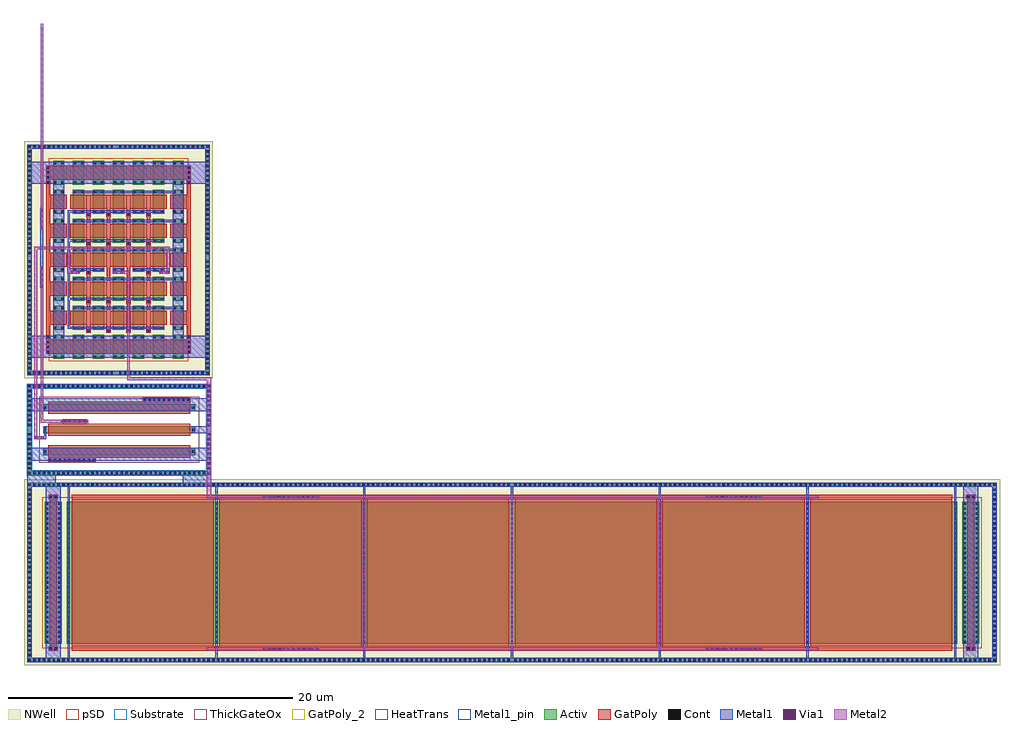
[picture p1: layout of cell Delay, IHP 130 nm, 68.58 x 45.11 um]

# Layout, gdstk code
from math import pi, radians
import gdstk
lib = gdstk.Library(unit=1e-6, precision=5e-09)
def R(c, l, rs):  # rectangles x0, y0, x1, y1
    for r in rs: c.add(gdstk.rectangle(r[:2], r[2:], *l))
def A(c, l, x, y, w, h, nx, ny, dx, dy):  # array of equal rectangles
    R(c, l, [(x+i*dx, y+j*dy, x+i*dx+w, y+j*dy+h) for i in range(nx) for j in range(ny)])
def P(c, l, *ps):  # polygons
    for p in ps: c.add(gdstk.Polygon(p, *l))
Activ = (1, 0)
GatPoly = (5, 0)
GatPoly_2 = (5, 2)
Cont = (6, 0)
Metal1 = (8, 0)
Metal1_pin = (8, 2)
Metal2 = (10, 0)
pSD = (14, 0)
Via1 = (19, 0)
NWell = (31, 0)
Substrate = (40, 0)
ThickGateOx = (44, 0)
HeatTrans = (51, 0)

pmos = lib.new_cell('pmos')
A(pmos, Activ, 0, 0, 0.3, 0.3, 7, 1, 10.38, 0)
R(pmos, Activ, [(0,0,62.58,10)])
A(pmos, GatPoly, 0.34, -0.18, 10, 10.36, 6, 1, 10.38, 0)
R(pmos, GatPoly, [(0.34,-0.18,10.34,10.18)])
A(pmos, Cont, 0.07, 0.07, 0.16, 0.16, 7, 4, 10.38, 0.345)
A(pmos, Cont, 0.07, 1.455, 0.16, 0.16, 7, 3, 10.38, 0.345)
A(pmos, Cont, 0.07, 2.495, 0.16, 0.16, 7, 4, 10.38, 0.345)
A(pmos, Cont, 0.07, 3.88, 0.16, 0.16, 7, 3, 10.38, 0.345)
A(pmos, Cont, 0.07, 4.92, 0.16, 0.16, 7, 4, 10.38, 0.345)
A(pmos, Cont, 0.07, 6.305, 0.16, 0.16, 7, 3, 10.38, 0.345)
A(pmos, Cont, 0.07, 7.345, 0.16, 0.16, 7, 4, 10.38, 0.345)
A(pmos, Cont, 0.07, 8.73, 0.16, 0.16, 7, 3, 10.38, 0.345)
A(pmos, Cont, 0.07, 9.77, 0.16, 0.16, 7, 1, 10.38, 0)
A(pmos, Metal1, 10.45, 0, 0.16, 10, 6, 1, 10.38, 0)
R(pmos, Metal1, [(0.07,0,0.23,10), (0.07,0,0.23,10), (10.45,0,10.61,10)])
R(pmos, pSD, [(-0.18,-0.3,62.76,10.3)])
R(pmos, NWell, [(-0.31,-0.31,62.89,10.31)])
A(pmos, HeatTrans, 0.34, -0.18, 10, 10.36, 6, 1, 10.38, 0)
pmos.add(gdstk.Label('pmos', (5.34,5), layer=63, texttype=0))
pmos.add(gdstk.Label('pmos', (5.34,5), layer=51, texttype=0))
pmos.add(gdstk.Label('pmos', (15.72,5), layer=51, texttype=0))
pmos.add(gdstk.Label('pmos', (26.1,5), layer=51, texttype=0))
pmos.add(gdstk.Label('pmos', (36.48,5), layer=51, texttype=0))
pmos.add(gdstk.Label('pmos', (46.86,5), layer=51, texttype=0))
pmos.add(gdstk.Label('pmos', (57.24,5), layer=51, texttype=0))

pmos_1 = lib.new_cell('pmos$1')
R(pmos_1, Activ, [(0,0,0.3,0.3), (0,0,1.18,10), (0.88,0,1.18,0.3)])
R(pmos_1, GatPoly, [(0.34,-0.18,0.84,10.18), (0.34,-0.18,0.84,10.18)])
A(pmos_1, Cont, 0.07, 0.07, 0.16, 0.16, 1, 4, 0, 0.345)
A(pmos_1, Cont, 0.95, 0.07, 0.16, 0.16, 1, 4, 0, 0.345)
A(pmos_1, Cont, 0.07, 1.455, 0.16, 0.16, 1, 3, 0, 0.345)
A(pmos_1, Cont, 0.95, 1.455, 0.16, 0.16, 1, 3, 0, 0.345)
A(pmos_1, Cont, 0.07, 2.495, 0.16, 0.16, 1, 4, 0, 0.345)
A(pmos_1, Cont, 0.95, 2.495, 0.16, 0.16, 1, 4, 0, 0.345)
A(pmos_1, Cont, 0.07, 3.88, 0.16, 0.16, 1, 3, 0, 0.345)
A(pmos_1, Cont, 0.95, 3.88, 0.16, 0.16, 1, 3, 0, 0.345)
A(pmos_1, Cont, 0.07, 4.92, 0.16, 0.16, 1, 4, 0, 0.345)
A(pmos_1, Cont, 0.95, 4.92, 0.16, 0.16, 1, 4, 0, 0.345)
A(pmos_1, Cont, 0.07, 6.305, 0.16, 0.16, 1, 3, 0, 0.345)
A(pmos_1, Cont, 0.95, 6.305, 0.16, 0.16, 1, 3, 0, 0.345)
A(pmos_1, Cont, 0.07, 7.345, 0.16, 0.16, 1, 4, 0, 0.345)
A(pmos_1, Cont, 0.95, 7.345, 0.16, 0.16, 1, 4, 0, 0.345)
A(pmos_1, Cont, 0.07, 8.73, 0.16, 0.16, 1, 3, 0, 0.345)
A(pmos_1, Cont, 0.95, 8.73, 0.16, 0.16, 1, 3, 0, 0.345)
R(pmos_1, Cont, [(0.07,9.77,0.23,9.93), (0.95,9.77,1.11,9.93)])
R(pmos_1, Metal1, [(0.07,0,0.23,10), (0.07,0,0.23,10), (0.95,0,1.11,10), (0.95,0,1.11,10)])
R(pmos_1, pSD, [(-0.18,-0.3,1.36,10.3)])
R(pmos_1, NWell, [(-0.31,-0.31,1.49,10.31)])
R(pmos_1, HeatTrans, [(0.34,-0.18,0.84,10.18)])
pmos_1.add(gdstk.Label('pmos', (0.59,5), layer=63, texttype=0))
pmos_1.add(gdstk.Label('pmos', (0.59,5), layer=51, texttype=0))

via_stack = lib.new_cell('via_stack')
R(via_stack, GatPoly, [(-1.68,-0.15,1.68,0.15)])
A(via_stack, Cont, -1.61, -0.08, 0.16, 0.16, 10, 1, 0.34, 0)
R(via_stack, Metal1, [(-1.99,-0.105,1.99,0.105)])
R(via_stack, Metal2, [(-1.99,-0.1,1.99,0.1)])
A(via_stack, Via1, -1.94, -0.095, 0.19, 0.19, 10, 1, 0.41, 0)

via_stack_1 = lib.new_cell('via_stack$1')
R(via_stack_1, GatPoly, [(-0.32,-0.15,0.32,0.15)])
R(via_stack_1, Cont, [(-0.25,-0.08,-0.09,0.08), (0.09,-0.08,0.25,0.08)])
R(via_stack_1, Metal1, [(-0.3,-0.08,0.3,0.08)])

pmos_2 = lib.new_cell('pmos$2')
R(pmos_2, Activ, [(0,0,0.3,0.3), (0,0,1.68,0.8), (1.38,0,1.68,0.3)])
R(pmos_2, GatPoly, [(0.34,-0.18,1.34,0.98), (0.34,-0.18,1.34,0.98)])
R(pmos_2, Cont, [(0.07,0.07,0.23,0.23), (1.45,0.07,1.61,0.23), (0.07,0.57,0.23,0.73), (1.45,0.57,1.61,0.73)])
R(pmos_2, Metal1, [(0.07,0,0.23,0.8), (0.07,0,0.23,0.8), (1.45,0,1.61,0.8), (1.45,0,1.61,0.8)])
R(pmos_2, pSD, [(-0.18,-0.3,1.86,1.1)])
R(pmos_2, NWell, [(-0.31,-0.31,1.99,1.11)])
R(pmos_2, HeatTrans, [(0.34,-0.18,1.34,0.98)])
pmos_2.add(gdstk.Label('pmos', (0.84,0.4), layer=63, texttype=0))
pmos_2.add(gdstk.Label('pmos', (0.84,0.4), layer=51, texttype=0))

via_stack_2 = lib.new_cell('via_stack$2')
R(via_stack_2, Metal1, [(-0.35,-0.105,0.35,0.105)])
R(via_stack_2, Metal2, [(-0.35,-0.1,0.35,0.1)])
R(via_stack_2, Via1, [(-0.3,-0.095,-0.11,0.095), (0.11,-0.095,0.3,0.095)])

via_stack_3 = lib.new_cell('via_stack$3')
R(via_stack_3, GatPoly, [(-0.15,-0.15,0.15,0.15)])
R(via_stack_3, Cont, [(-0.08,-0.08,0.08,0.08)])
R(via_stack_3, Metal1, [(-0.13,-0.08,0.13,0.08)])

nmoshv = lib.new_cell('nmosHV')
R(nmoshv, Activ, [(0,0,0.3,0.3), (0,0,10.68,0.5), (10.38,0,10.68,0.3)])
R(nmoshv, GatPoly, [(0.34,-0.18,10.34,0.68)])
R(nmoshv, GatPoly_2, [(0.34,-0.18,10.34,0.68)])
R(nmoshv, Cont, [(0.07,0.17,0.23,0.33), (10.45,0.17,10.61,0.33)])
R(nmoshv, Metal1, [(0.07,0,0.23,0.5), (10.45,0,10.61,0.5)])
R(nmoshv, Metal1_pin, [(0.07,0,0.23,0.5), (10.45,0,10.61,0.5)])
R(nmoshv, ThickGateOx, [(-0.27,-0.52,10.95,1.02)])
R(nmoshv, HeatTrans, [(0.34,-0.18,10.34,0.68)])
nmoshv.add(gdstk.Label('nmosHV', (5.34,0.25), layer=63, texttype=0))
nmoshv.add(gdstk.Label('nmosHV', (5.34,0.25), layer=51, texttype=0))

guard_ring = lib.new_cell('guard_ring')
R(guard_ring, Activ, [(-3.2,-6.15,-2.9,6.15), (2.9,-6.15,3.2,6.15), (-3.2,6.15,3.2,6.45)])
P(guard_ring, Activ, [(-3.2,-6.45),(-3.2,6.15),(-2.9,6.15),(-2.9,-6.15),(2.9,-6.15),(2.9,6.15),(-3.2,6.15),(-3.2,6.45),(3.2,6.45),(3.2,-6.45)])
A(guard_ring, Cont, -3.13, -6.38, 0.16, 0.16, 9, 2, 0.34, 12.6)
A(guard_ring, Cont, 0.25, -6.38, 0.16, 0.16, 9, 2, 0.34, 12.6)
A(guard_ring, Cont, -3.13, -6.04, 0.16, 0.16, 1, 18, 0, 0.34)
A(guard_ring, Cont, 2.97, -6.04, 0.16, 0.16, 1, 18, 0, 0.34)
A(guard_ring, Cont, -3.13, 0.1, 0.16, 0.16, 1, 18, 0, 0.34)
A(guard_ring, Cont, 2.97, 0.1, 0.16, 0.16, 1, 18, 0, 0.34)
R(guard_ring, Metal1, [(-3.2,-6.45,3.2,-6.15), (-3.2,-6.15,-2.9,6.15), (2.9,-6.15,3.2,6.15), (-3.2,6.15,3.2,6.45)])
R(guard_ring, pSD, [(-3.23,-6.12,-2.87,6.12), (2.87,-6.12,3.23,6.12), (-3.23,6.12,3.23,6.48)])
P(guard_ring, pSD, [(-3.23,-6.48),(-3.23,6.12),(-2.87,6.12),(-2.87,-6.12),(2.87,-6.12),(2.87,6.12),(-3.23,6.12),(-3.23,6.48),(3.23,6.48),(3.23,-6.48)])
R(guard_ring, Substrate, [(-3.23,-6.12,-2.87,6.12), (2.87,-6.12,3.23,6.12), (-3.23,6.12,3.23,6.48)])
P(guard_ring, Substrate, [(-3.23,-6.48),(-3.23,6.12),(-2.87,6.12),(-2.87,-6.12),(2.87,-6.12),(2.87,6.12),(-3.23,6.12),(-3.23,6.48),(3.23,6.48),(3.23,-6.48)])
guard_ring.add(gdstk.Label('sub!', (0,-6.3), layer=63, texttype=0))

via_stack_4 = lib.new_cell('via_stack$4')
R(via_stack_4, GatPoly, [(-1.68,-0.15,1.68,0.15)])
A(via_stack_4, Cont, -1.61, -0.08, 0.16, 0.16, 10, 1, 0.34, 0)
R(via_stack_4, Metal1, [(-1.66,-0.08,1.66,0.08)])

via_stack_5 = lib.new_cell('via_stack$5')
R(via_stack_5, GatPoly, [(-0.15,-0.66,0.15,0.66)])
A(via_stack_5, Cont, -0.08, -0.59, 0.16, 0.16, 1, 4, 0, 0.34)
R(via_stack_5, Metal1, [(-0.08,-0.64,0.08,0.64)])

guard_ring_3 = lib.new_cell('guard_ring$3')
R(guard_ring_3, Activ, [(-34.05,-6,-33.75,6), (33.75,-6,34.05,6), (-34.05,6,34.05,6.3)])
P(guard_ring_3, Activ, [(-34.05,-6.3),(-34.05,6),(-33.75,6),(-33.75,-6),(33.75,-6),(33.75,6),(-34.05,6),(-34.05,6.3),(34.05,6.3),(34.05,-6.3)])
A(guard_ring_3, Cont, -33.98, -6.23, 0.16, 0.16, 100, 2, 0.34, 12.3)
A(guard_ring_3, Cont, 0.16, -6.23, 0.16, 0.16, 100, 2, 0.34, 12.3)
A(guard_ring_3, Cont, -33.98, -5.89, 0.16, 0.16, 1, 17, 0, 0.34)
A(guard_ring_3, Cont, 33.82, -5.89, 0.16, 0.16, 1, 17, 0, 0.34)
A(guard_ring_3, Cont, -33.98, -0.05, 0.16, 0.16, 1, 18, 0, 0.34)
A(guard_ring_3, Cont, 33.82, -0.05, 0.16, 0.16, 1, 18, 0, 0.34)
R(guard_ring_3, Metal1, [(-34.05,-6.3,34.05,-6), (-34.05,-6,-33.75,6), (33.75,-6,34.05,6), (-34.05,6,34.05,6.3)])
R(guard_ring_3, NWell, [(-34.29,-6.54,34.29,6.54)])
guard_ring_3.add(gdstk.Label('well', (0,-6.15), layer=63, texttype=0))

guard_ring_6 = lib.new_cell('guard_ring$6')
R(guard_ring_6, Activ, [(-8.1,-6.1,-7.8,6.1), (7.8,-6.1,8.1,6.1), (-8.1,6.1,8.1,6.4)])
P(guard_ring_6, Activ, [(-8.1,-6.4),(-8.1,6.1),(-7.8,6.1),(-7.8,-6.1),(7.8,-6.1),(7.8,6.1),(-8.1,6.1),(-8.1,6.4),(8.1,6.4),(8.1,-6.4)])
A(guard_ring_6, Cont, -8.03, -6.33, 0.16, 0.16, 23, 2, 0.34, 12.5)
A(guard_ring_6, Cont, 0.05, -6.33, 0.16, 0.16, 24, 2, 0.34, 12.5)
A(guard_ring_6, Cont, -8.03, -5.99, 0.16, 0.16, 1, 17, 0, 0.34)
A(guard_ring_6, Cont, 7.87, -5.99, 0.16, 0.16, 1, 17, 0, 0.34)
A(guard_ring_6, Cont, -8.03, 0.05, 0.16, 0.16, 1, 18, 0, 0.34)
A(guard_ring_6, Cont, 7.87, 0.05, 0.16, 0.16, 1, 18, 0, 0.34)
R(guard_ring_6, Metal1, [(-8.1,-6.4,8.1,-6.1), (-8.1,-6.1,-7.8,6.1), (7.8,-6.1,8.1,6.1), (-8.1,6.1,8.1,6.4)])
R(guard_ring_6, NWell, [(-8.34,-6.64,8.34,6.64)])
guard_ring_6.add(gdstk.Label('well', (0,-6.25), layer=63, texttype=0))

via_stack_31 = lib.new_cell('via_stack$31')
R(via_stack_31, GatPoly, [(-0.83,-0.15,0.83,0.15)])
A(via_stack_31, Cont, -0.76, -0.08, 0.16, 0.16, 5, 1, 0.34, 0)
R(via_stack_31, Metal1, [(-0.965,-0.105,0.965,0.105)])
R(via_stack_31, Metal2, [(-0.965,-0.1,0.965,0.1)])
A(via_stack_31, Via1, -0.915, -0.095, 0.19, 0.19, 5, 1, 0.41, 0)

via_stack_27 = lib.new_cell('via_stack$27')
R(via_stack_27, Metal1, [(-0.105,-0.76,0.105,0.76)])
R(via_stack_27, Metal2, [(-0.1,-0.76,0.1,0.76)])
A(via_stack_27, Via1, -0.095, -0.71, 0.19, 0.19, 1, 4, 0, 0.41)

delay = lib.new_cell('Delay')
A(delay, GatPoly, 4.39, 23.375, 0.3, 0.55, 4, 1, 1.4, 0)
A(delay, GatPoly, 4.42, 23.925, 0.24, 9.16, 4, 1, 1.4, 0)
A(delay, GatPoly, 4.39, 25.415, 0.3, 0.55, 1, 4, 0, 2.04)
R(delay, GatPoly, [(1.8,1.035,2.3,1.335), (3.34,1.035,65.24,1.335), (66.28,1.035,66.78,1.335), (1.8,11.695,2.3,11.995), (3.34,11.695,65.24,11.995), (66.28,11.695,66.78,11.995), (1.56,21.885,1.86,35.125), (3.02,21.885,10.26,22.885), (11.42,21.885,11.72,35.125), (3.02,34.125,10.26,35.125)])
A(delay, Metal1, 3.07, 0.54, 0.16, 12, 7, 1, 10.38, 0)
A(delay, Metal1, 3.44, 25.035, 7, 0.16, 1, 5, 0, 2.04)
R(delay, Metal1, [(1.53,0.54,2.57,12.54), (66.01,0.54,67.05,12.54), (0.24,12.84,2.24,13.37), (11.14,12.84,13.14,13.37), (0.54,14.37,12.84,15.28), (1.42,15.895,1.58,16.82), (11.8,16.32,12.84,16.82), (0.54,17.86,12.84,18.77), (0.24,21.615,13.04,23.155), (2.04,21.615,2.84,35.395), (10.44,21.615,11.24,35.395), (3.06,23.655,9.84,23.815), (3.06,23.655,3.22,31.975), (3.06,25.695,9.84,25.855), (1.155,26.53,1.365,32.13), (6.24,27.525,7.04,27.735), (3.06,27.735,5.64,27.895), (7.64,27.735,10.22,27.895), (3.06,29.775,9.84,29.935), (3.06,31.815,9.84,31.975), (0.24,33.855,13.04,35.395)])
P(delay, Metal1, [(66.265,1.045),(66.265,1.045),(66.265,1.045),(66.265,1.045)])
A(delay, Metal2, 23.81, 1.085, 0.2, 10.86, 3, 1, 10.38, 0)
R(delay, Metal2, [(12.84,1.085,55.82,1.285), (12.84,11.745,55.82,11.945), (12.84,11.745,13.14,20.255), (0.72,15.9,0.92,29.43), (1.16,17.05,1.36,28.05), (1.16,17.05,4.525,17.25), (7.24,20.055,13.14,20.255), (7.24,20.055,7.44,27.73), (3.04,27.53,3.24,29.43), (6.99,27.53,7.44,27.73), (10.04,27.53,10.24,29.43), (0.72,29.23,3.24,29.43), (3.04,29.23,10.24,29.43), (1.16,30.61,1.36,45.105)])
P(delay, Metal2, [(68.045,13.08),(68.045,13.08),(68.045,13.08),(68.045,13.08)])
delay.add(gdstk.Reference(pmos, (3,1.515)))
delay.add(gdstk.Reference(pmos_1, (65.94,1.515)))
delay.add(gdstk.Reference(pmos_1, (1.46,1.515)))
delay.add(gdstk.Reference(via_stack, (18.765,11.845)))
delay.add(gdstk.Reference(via_stack, (49.895,11.845)))
delay.add(gdstk.Reference(via_stack, (49.895,1.185)))
delay.add(gdstk.Reference(via_stack, (18.765,1.185)))
delay.add(gdstk.Reference(via_stack_1, (2.05,11.845)))
delay.add(gdstk.Reference(via_stack_1, (2.05,1.185)))
delay.add(gdstk.Reference(via_stack_1, (66.53,1.185)))
delay.add(gdstk.Reference(via_stack_1, (66.53,11.845)))
delay.add(gdstk.Reference(pmos_2, (10.44,23.225), rotation=3*pi/2))
delay.add(gdstk.Reference(pmos_2, (7.64,23.225), rotation=3*pi/2))
delay.add(gdstk.Reference(pmos_2, (9.04,23.225), rotation=3*pi/2))
delay.add(gdstk.Reference(pmos_2, (4.84,23.225), rotation=3*pi/2))
delay.add(gdstk.Reference(pmos_2, (2.04,23.225), rotation=3*pi/2))
delay.add(gdstk.Reference(pmos_2, (6.24,23.225), rotation=3*pi/2))
delay.add(gdstk.Reference(pmos_2, (3.44,23.225), rotation=3*pi/2))
delay.add(gdstk.Reference(pmos_2, (10.44,27.305), rotation=3*pi/2))
delay.add(gdstk.Reference(pmos_2, (7.64,27.305), rotation=3*pi/2))
delay.add(gdstk.Reference(pmos_2, (10.44,25.265), rotation=3*pi/2))
delay.add(gdstk.Reference(pmos_2, (9.04,27.305), rotation=3*pi/2))
delay.add(gdstk.Reference(pmos_2, (4.84,27.305), rotation=3*pi/2))
delay.add(gdstk.Reference(pmos_2, (2.04,27.305), rotation=3*pi/2))
delay.add(gdstk.Reference(pmos_2, (6.24,27.305), rotation=3*pi/2))
delay.add(gdstk.Reference(pmos_2, (3.44,27.305), rotation=3*pi/2))
delay.add(gdstk.Reference(pmos_2, (7.64,25.265), rotation=3*pi/2))
delay.add(gdstk.Reference(pmos_2, (9.04,25.265), rotation=3*pi/2))
delay.add(gdstk.Reference(pmos_2, (4.84,25.265), rotation=3*pi/2))
delay.add(gdstk.Reference(pmos_2, (2.04,25.265), rotation=3*pi/2))
delay.add(gdstk.Reference(pmos_2, (6.24,25.265), rotation=3*pi/2))
delay.add(gdstk.Reference(pmos_2, (3.44,25.265), rotation=3*pi/2))
delay.add(gdstk.Reference(pmos_2, (10.44,31.385), rotation=3*pi/2))
delay.add(gdstk.Reference(pmos_2, (7.64,31.385), rotation=3*pi/2))
delay.add(gdstk.Reference(pmos_2, (10.44,29.345), rotation=3*pi/2))
delay.add(gdstk.Reference(pmos_2, (9.04,31.385), rotation=3*pi/2))
delay.add(gdstk.Reference(pmos_2, (4.84,31.385), rotation=3*pi/2))
delay.add(gdstk.Reference(pmos_2, (2.04,31.385), rotation=3*pi/2))
delay.add(gdstk.Reference(pmos_2, (6.24,31.385), rotation=3*pi/2))
delay.add(gdstk.Reference(pmos_2, (3.44,31.385), rotation=3*pi/2))
delay.add(gdstk.Reference(pmos_2, (7.64,29.345), rotation=3*pi/2))
delay.add(gdstk.Reference(pmos_2, (9.04,29.345), rotation=3*pi/2))
delay.add(gdstk.Reference(pmos_2, (4.84,29.345), rotation=3*pi/2))
delay.add(gdstk.Reference(pmos_2, (2.04,29.345), rotation=3*pi/2))
delay.add(gdstk.Reference(pmos_2, (6.24,29.345), rotation=3*pi/2))
delay.add(gdstk.Reference(pmos_2, (3.44,29.345), rotation=3*pi/2))
delay.add(gdstk.Reference(pmos_2, (10.44,35.465), rotation=3*pi/2))
delay.add(gdstk.Reference(pmos_2, (7.64,35.465), rotation=3*pi/2))
delay.add(gdstk.Reference(pmos_2, (10.44,33.425), rotation=3*pi/2))
delay.add(gdstk.Reference(pmos_2, (9.04,35.465), rotation=3*pi/2))
delay.add(gdstk.Reference(pmos_2, (4.84,35.465), rotation=3*pi/2))
delay.add(gdstk.Reference(pmos_2, (2.04,35.465), rotation=3*pi/2))
delay.add(gdstk.Reference(pmos_2, (6.24,35.465), rotation=3*pi/2))
delay.add(gdstk.Reference(pmos_2, (3.44,35.465), rotation=3*pi/2))
delay.add(gdstk.Reference(pmos_2, (7.64,33.425), rotation=3*pi/2))
delay.add(gdstk.Reference(pmos_2, (9.04,33.425), rotation=3*pi/2))
delay.add(gdstk.Reference(pmos_2, (4.84,33.425), rotation=3*pi/2))
delay.add(gdstk.Reference(pmos_2, (2.04,33.425), rotation=3*pi/2))
delay.add(gdstk.Reference(pmos_2, (6.24,33.425), rotation=3*pi/2))
delay.add(gdstk.Reference(pmos_2, (3.44,33.425), rotation=3*pi/2))
delay.add(gdstk.Reference(via_stack_2, (6.64,27.63)))
delay.add(gdstk.Reference(via_stack_2, (9.87,27.63)))
delay.add(gdstk.Reference(via_stack_2, (3.57,27.63)))
delay.add(gdstk.Reference(via_stack_3, (4.54,29.645), rotation=3*pi/2))
delay.add(gdstk.Reference(via_stack_3, (5.94,29.645), rotation=3*pi/2))
delay.add(gdstk.Reference(via_stack_3, (7.34,29.645), rotation=3*pi/2))
delay.add(gdstk.Reference(via_stack_3, (8.74,31.685), rotation=3*pi/2))
delay.add(gdstk.Reference(via_stack_3, (7.34,31.685), rotation=3*pi/2))
delay.add(gdstk.Reference(via_stack_3, (5.94,31.685), rotation=3*pi/2))
delay.add(gdstk.Reference(via_stack_3, (4.54,31.685), rotation=3*pi/2))
delay.add(gdstk.Reference(via_stack_3, (4.54,23.525), rotation=3*pi/2))
delay.add(gdstk.Reference(via_stack_3, (4.54,25.565), rotation=3*pi/2))
delay.add(gdstk.Reference(via_stack_3, (4.54,27.605), rotation=3*pi/2))
delay.add(gdstk.Reference(via_stack_3, (8.74,29.645), rotation=3*pi/2))
delay.add(gdstk.Reference(via_stack_3, (5.94,25.565), rotation=3*pi/2))
delay.add(gdstk.Reference(via_stack_3, (7.34,25.565), rotation=3*pi/2))
delay.add(gdstk.Reference(via_stack_3, (8.74,25.565), rotation=3*pi/2))
delay.add(gdstk.Reference(via_stack_3, (8.74,27.605), rotation=3*pi/2))
delay.add(gdstk.Reference(via_stack_3, (8.74,23.525), rotation=3*pi/2))
delay.add(gdstk.Reference(via_stack_3, (7.34,23.525), rotation=3*pi/2))
delay.add(gdstk.Reference(via_stack_3, (5.94,23.525), rotation=3*pi/2))
delay.add(gdstk.Reference(nmoshv, (1.35,14.78)))
delay.add(gdstk.Reference(nmoshv, (1.35,16.32)))
delay.add(gdstk.Reference(nmoshv, (1.35,17.86)))
delay.add(gdstk.Reference(guard_ring, (6.69,16.57), rotation=pi/2))
delay.add(gdstk.Reference(via_stack_4, (3.37,14.45)))
delay.add(gdstk.Reference(via_stack_4, (10.01,18.69)))
delay.add(gdstk.Reference(via_stack_5, (1.71,34.465)))
delay.add(gdstk.Reference(via_stack_5, (1.71,22.545)))
delay.add(gdstk.Reference(guard_ring_3, (34.29,6.54)))
delay.add(gdstk.Reference(via_stack_5, (11.57,22.545)))
delay.add(gdstk.Reference(via_stack_5, (11.57,34.465)))
delay.add(gdstk.Reference(guard_ring_6, (6.64,28.505), rotation=3*pi/2))
delay.add(gdstk.Reference(via_stack_2, (1.07,16)))
delay.add(gdstk.Reference(via_stack_31, (3.56,17.15)))
delay.add(gdstk.Reference(via_stack_27, (1.26,27.29)))
delay.add(gdstk.Reference(via_stack_27, (1.26,31.37)))

lib.write_gds('Delay.gds')
